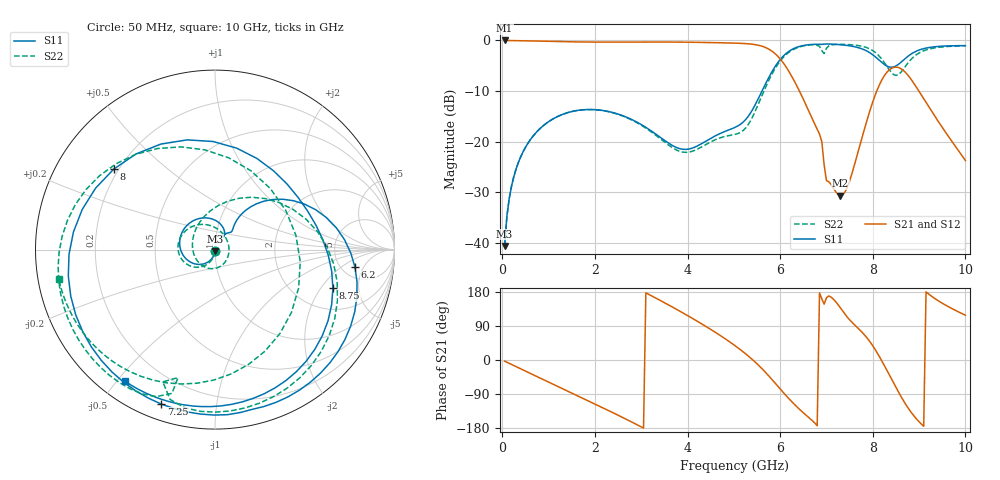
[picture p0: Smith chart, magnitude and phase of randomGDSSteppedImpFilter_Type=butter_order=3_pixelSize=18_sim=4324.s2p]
! freq	dB(S11)	phase(S11)	dB(S12)	phase(S12)
!  dB(S21)	phase(S21)	dB(S22)	phase(S22)
!S-par simulation data
#  GHz  S  DB  R 50
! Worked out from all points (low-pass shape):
!   200 points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, 50 MHz to 10 GHz, reference 50 ohm
!   highest |S21| = -0.01 dB at 50 MHz (marker M1); lowest = -30.7 dB at 7.3 GHz (marker M2)
!   |S21| within 3 dB of the highest: start of sweep to 5.934 GHz
!   lowest |S11| = -40.6 dB at 50 MHz (marker M3), VSWR 1.02, Z = 50 - j0.927 ohm
!   |S11| at or under -10 dB: start of sweep to 5.609 GHz
!   |S22| runs from -40.7 to -0.8 dB; largest |S21 - S12| = 0
!   S11 on the Smith chart (normalised r, x): 50 MHz: 1.00, -0.02; 6.2 GHz: 6.58, -3.38; 7.25 GHz: 0.07, -0.71; 8 GHz: 0.18, +0.34; 8.75 GHz: 3.19, -2.62; 10 GHz: 0.08, -0.52
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0.05  -40.65 -91.6  -0.01 -3.0  -0.01 -3.0  -40.71 -90.2
0.2  -28.81 -102.8  -0.03 -11.8  -0.03 -11.8  -28.80 -100.4
0.5  -21.16 -122.7  -0.07 -29.3  -0.07 -29.3  -21.16 -116.6
1.75  -13.71 156.8  -0.31 -101.4  -0.31 -101.4  -13.73 178.9
2.65  -15.07 99.5  -0.33 -154.8  -0.33 -154.8  -15.14 130.1
3.4  -19.10 61.2  -0.31 157.9  -0.31 157.9  -19.37 74.6
4.3  -20.45 59.0  -0.39 95.8  -0.39 95.8  -21.09 -48.4
5.05  -17.09 47.4  -0.54 35.6  -0.54 35.6  -18.53 -157.8
5.45  -12.92 53.6  -0.82 -4.3  -0.82 -4.3  -14.24 107.9
5.75  -7.41 40.9  -1.70 -41.3  -1.70 -41.3  -7.99 45.6
6.2  -2.09 -7.2  -6.30 -103.5  -6.30 -103.5  -2.27 -29.9
6.7  -0.79 -59.0  -15.63 -160.6  -15.63 -160.6  -0.86 -89.9
7  -0.70 -85.7  -27.73 164.3  -27.73 164.3  -1.55 -106.7
7.25  -0.81 -109.2  -30.48 146.0  -30.48 146.0  -0.78 -130.0
7.3  -0.85 -114.1  -30.72 137.7  -30.72 137.7  -0.77 -134.1
7.7  -1.47 -162.1  -21.48 81.8  -21.48 81.8  -1.04 -168.9
8  -2.84 141.6  -12.17 37.5  -12.17 37.5  -2.01 155.1
8.35  -5.24 53.4  -5.87 -37.7  -5.87 -37.7  -5.73 81.5
8.55  -4.76 13.8  -5.35 -83.5  -5.35 -83.5  -6.78 9.9
8.75  -3.21 -18.1  -6.78 -124.3  -6.78 -124.3  -4.56 -52.3
9.25  -1.35 -75.5  -13.72 170.1  -13.72 170.1  -1.64 -124.7
10  -1.03 -124.4  -23.75 118.2  -23.75 118.2  -1.05 -169.5
